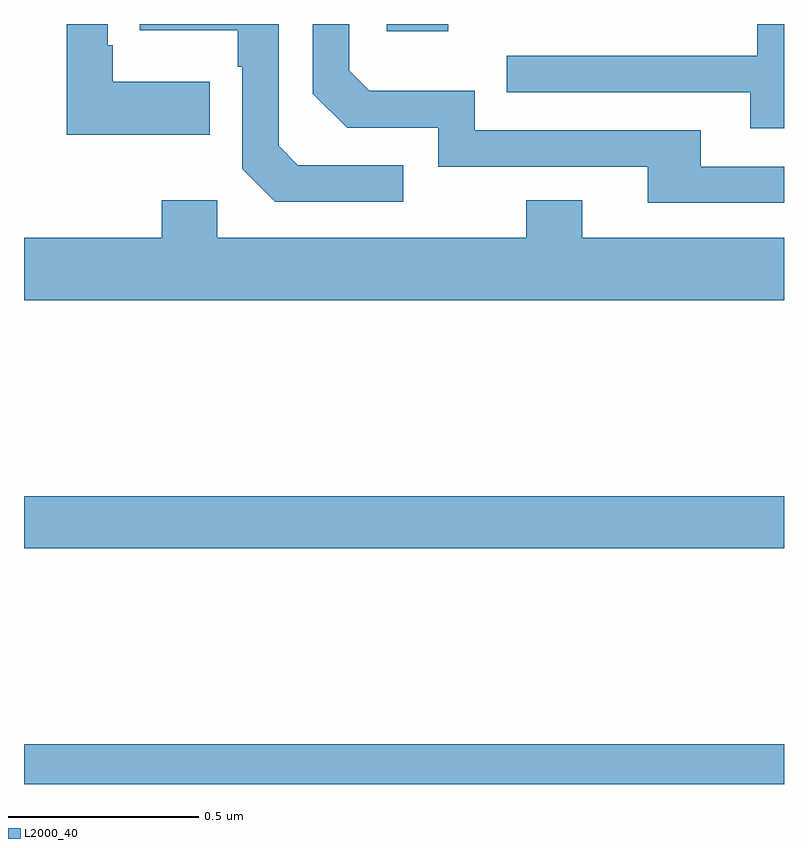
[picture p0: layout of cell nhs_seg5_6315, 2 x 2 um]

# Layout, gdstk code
import gdstk
lib = gdstk.Library(unit=1e-6, precision=1e-09)
def R(c, l, rs):  # rectangles x0, y0, x1, y1
    for r in rs: c.add(gdstk.rectangle(r[:2], r[2:], *l))
def P(c, l, *ps):  # polygons
    for p in ps: c.add(gdstk.Polygon(p, *l))
L2000_40 = (2000, 40)

nhs_seg5_6315 = lib.new_cell('nhs_seg5_6315')
R(nhs_seg5_6315, L2000_40, [(194,876.799,196,876.904), (194,877.42,196,877.556), (194.955,878.78,195.116,878.799)])
P(nhs_seg5_6315, L2000_40, [(194.489,878.647),(194.233,878.647),(194.233,878.743),(194.22,878.743),(194.22,878.799),(194.112,878.799),(194.112,878.507),(194.489,878.507)],
  [(194.998,878.427),(194.721,878.427),(194.67,878.478),(194.67,878.799),(194.305,878.799),(194.305,878.783),(194.562,878.783),(194.562,878.687),(194.574,878.687),(194.574,878.418),(194.661,878.331),(194.998,878.331)],
  [(196,878.799),(195.93,878.799),(195.93,878.715),(195.271,878.715),(195.271,878.619),(195.911,878.619),(195.911,878.525),(196,878.525)],
  [(196,878.424),(195.781,878.424),(195.781,878.52),(195.186,878.52),(195.186,878.623),(194.909,878.623),(194.856,878.676),(194.856,878.799),(194.76,878.799),(194.76,878.616),(194.85,878.526),(195.09,878.526),(195.09,878.424),(195.641,878.424),(195.641,878.328),(196,878.328)],
  [(196,878.236),(195.469,878.236),(195.469,878.335),(195.322,878.335),(195.322,878.236),(194.508,878.236),(194.508,878.335),(194.362,878.335),(194.362,878.236),(194,878.236),(194,878.072),(196,878.072)])

lib.write_gds('nhs_seg5_6315.gds')
